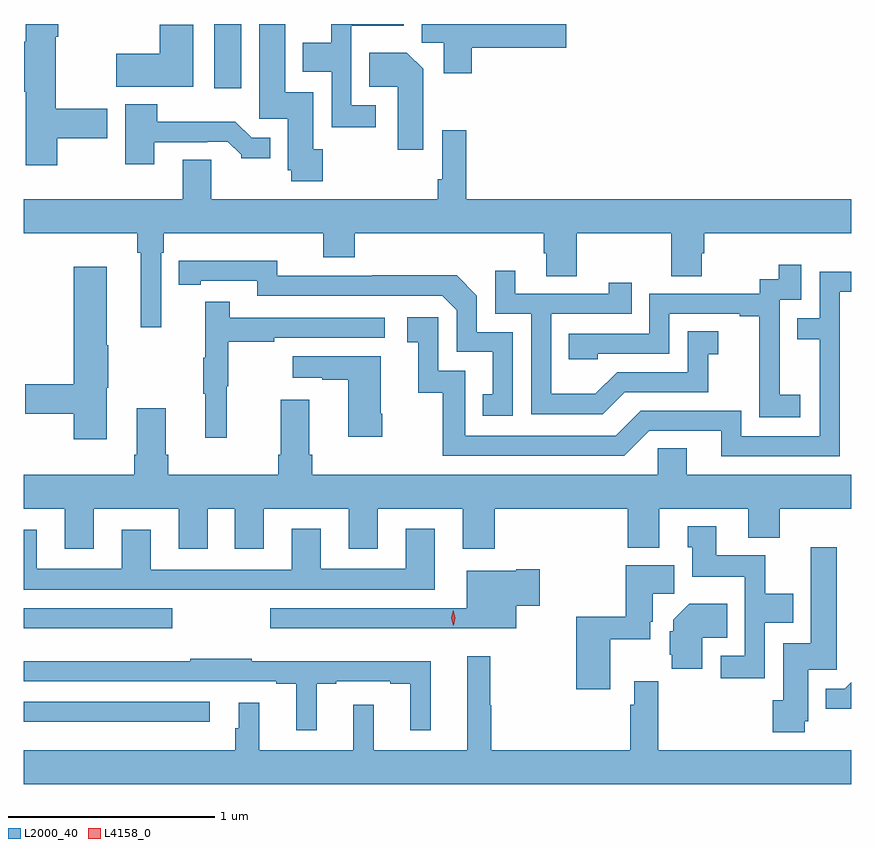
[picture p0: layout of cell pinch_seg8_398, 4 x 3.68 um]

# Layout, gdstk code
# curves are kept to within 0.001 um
import gdstk
lib = gdstk.Library(unit=1e-6, precision=1e-09)
def R(c, l, rs):  # rectangles x0, y0, x1, y1
    for r in rs: c.add(gdstk.rectangle(r[:2], r[2:], *l))
def P(c, l, *ps):  # polygons
    for p in ps: c.add(gdstk.Polygon(p, *l))
L2000_40 = (2000, 40)
L4158_0 = (4158, 0)

pinch_seg8_398 = lib.new_cell('pinch_seg8_398')
R(pinch_seg8_398, L2000_40, [(506.1,1108.808,506.998,1108.905), (506.1,1109.261,506.818,1109.358), (507.02,1111.872,507.151,1112.183)])
P(pinch_seg8_398, L2000_40, [(508.265,1112.069),(508.723,1112.069),(508.723,1112.183),(508.025,1112.183),(508.025,1112.092),(508.13,1112.092),(508.13,1111.944),(508.265,1111.944)],
  [(506.262,1111.63),(506.503,1111.63),(506.503,1111.772),(506.254,1111.772),(506.254,1112.122),(506.267,1112.122),(506.267,1112.183),(506.108,1112.183),(506.108,1112.096),(506.101,1112.096),(506.101,1111.855),(506.108,1111.855),(506.108,1111.5),(506.262,1111.5)],
  [(507.546,1111.578),(507.499,1111.578),(507.499,1111.852),(507.364,1111.852),(507.364,1112.183),(507.239,1112.183),(507.239,1111.725),(507.377,1111.725),(507.377,1111.476),(507.394,1111.476),(507.394,1111.422),(507.546,1111.422)],
  [(507.802,1111.791),(507.684,1111.791),(507.684,1112.174),(507.937,1112.174),(507.937,1112.183),(507.586,1112.183),(507.586,1112.092),(507.449,1112.092),(507.449,1111.952),(507.588,1111.952),(507.588,1111.683),(507.802,1111.683)],
  [(506.92,1112.179),(506.756,1112.179),(506.756,1112.038),(506.547,1112.038),(506.547,1111.88),(506.92,1111.88)],
  [(508.03,1111.966),(507.952,1112.044),(507.769,1112.044),(507.769,1111.88),(507.908,1111.88),(507.908,1111.575),(508.03,1111.575)],
  [(506.731,1111.611),(506.987,1111.611),(506.987,1111.614),(507.086,1111.614),(507.15,1111.55),(507.15,1111.535),(507.292,1111.535),(507.292,1111.632),(507.201,1111.632),(507.123,1111.711),(506.744,1111.711),(506.744,1111.795),(506.591,1111.795),(506.591,1111.506),(506.731,1111.506)],
  [(507.007,1111.526),(506.867,1111.526),(506.867,1111.336),(506.1,1111.336),(506.1,1111.172),(506.647,1111.172),(506.647,1111.076),(506.666,1111.076),(506.666,1110.717),(506.763,1110.717),(506.763,1111.076),(506.777,1111.076),(506.777,1111.172),(507.548,1111.172),(507.548,1111.055),(507.701,1111.055),(507.701,1111.172),(508.613,1111.172),(508.613,1111.074),(508.625,1111.074),(508.625,1110.964),(508.773,1110.964),(508.773,1111.172),(509.23,1111.172),(509.23,1110.964),(509.377,1110.964),(509.377,1111.074),(509.39,1111.074),(509.39,1111.172),(510.1,1111.172),(510.1,1111.336),(508.238,1111.336),(508.238,1111.669),(508.122,1111.669),(508.122,1111.432),(508.102,1111.432),(508.102,1111.336),(507.007,1111.336)],
  [(508.464,1110.693),(508.29,1110.693),(508.29,1110.87),(508.192,1110.968),(507.784,1110.968),(507.784,1110.966),(507.324,1110.966),(507.324,1111.039),(506.848,1111.038),(506.848,1110.922),(506.956,1110.922),(506.956,1110.942),(507.228,1110.942),(507.228,1110.87),(508.122,1110.87),(508.194,1110.798),(508.194,1110.597),(508.367,1110.597),(508.367,1110.393),(508.318,1110.393),(508.318,1110.288),(508.464,1110.288)],
  [(509.854,1110.391),(509.756,1110.391),(509.756,1110.62),(509.754,1110.62),(509.754,1110.849),(509.859,1110.849),(509.859,1111.018),(509.751,1111.018),(509.751,1110.948),(509.658,1110.948),(509.658,1110.879),(509.124,1110.879),(509.124,1110.684),(508.735,1110.684),(508.735,1110.561),(508.875,1110.561),(508.875,1110.588),(509.22,1110.588),(509.22,1110.783),(509.561,1110.783),(509.561,1110.771),(509.657,1110.771),(509.657,1110.487),(509.656,1110.487),(509.656,1110.281),(509.854,1110.281)],
  [(506.5,1110.423),(506.508,1110.423),(506.508,1110.629),(506.5,1110.629),(506.5,1111.009),(506.342,1111.009),(506.342,1110.44),(506.106,1110.44),(506.106,1110.298),(506.342,1110.298),(506.342,1110.174),(506.5,1110.174)],
  [(509.005,1110.402),(509.409,1110.402),(509.409,1110.587),(509.458,1110.587),(509.458,1110.697),(509.31,1110.697),(509.31,1110.498),(508.968,1110.498),(508.864,1110.394),(508.65,1110.394),(508.65,1110.783),(509.039,1110.783),(509.039,1110.931),(508.928,1110.931),(508.928,1110.879),(508.477,1110.879),(508.477,1110.991),(508.38,1110.991),(508.38,1110.783),(508.554,1110.783),(508.554,1110.297),(508.9,1110.297)],
  [(510.045,1110.888),(510.1,1110.888),(510.1,1110.984),(509.949,1110.984),(509.949,1110.759),(509.839,1110.759),(509.839,1110.658),(509.949,1110.658),(509.949,1110.189),(509.568,1110.189),(509.568,1110.312),(509.082,1110.312),(508.962,1110.192),(508.233,1110.192),(508.233,1110.507),(508.104,1110.507),(508.104,1110.766),(507.954,1110.766),(507.954,1110.645),(508.007,1110.645),(508.007,1110.399),(508.125,1110.399),(508.125,1110.096),(509.004,1110.096),(509.124,1110.216),(509.471,1110.216),(509.471,1110.093),(510.045,1110.093)],
  [(507.08,1110.432),(507.088,1110.432),(507.088,1110.646),(507.311,1110.646),(507.311,1110.666),(507.844,1110.666),(507.844,1110.762),(507.095,1110.762),(507.095,1110.841),(506.978,1110.841),(506.978,1110.569),(506.967,1110.569),(506.967,1110.395),(506.978,1110.395),(506.978,1110.183),(507.08,1110.183)],
  [(507.834,1110.298),(507.826,1110.298),(507.826,1110.577),(507.399,1110.577),(507.399,1110.473),(507.542,1110.473),(507.542,1110.463),(507.668,1110.463),(507.668,1110.186),(507.834,1110.186)],
  [(506.849,1109.646),(506.989,1109.646),(506.989,1109.84),(507.119,1109.84),(507.119,1109.646),(507.259,1109.646),(507.259,1109.84),(507.671,1109.84),(507.671,1109.646),(507.811,1109.646),(507.811,1109.84),(508.223,1109.84),(508.223,1109.646),(508.376,1109.646),(508.376,1109.84),(509.021,1109.84),(509.021,1109.651),(509.173,1109.651),(509.173,1109.84),(509.603,1109.84),(509.603,1109.699),(509.756,1109.699),(509.756,1109.84),(510.1,1109.84),(510.1,1110.004),(509.305,1110.004),(509.305,1110.131),(509.166,1110.131),(509.166,1110.004),(507.494,1110.004),(507.494,1110.1),(507.481,1110.1),(507.481,1110.367),(507.341,1110.367),(507.341,1110.1),(507.329,1110.1),(507.329,1110.004),(506.798,1110.004),(506.798,1110.1),(506.785,1110.1),(506.785,1110.325),(506.645,1110.325),(506.645,1110.1),(506.633,1110.1),(506.633,1110.004),(506.1,1110.004),(506.1,1109.84),(506.297,1109.84),(506.297,1109.646),(506.437,1109.646),(506.437,1109.84),(506.849,1109.84)],
  [(509.682,1109.288),(509.821,1109.288),(509.821,1109.428),(509.685,1109.428),(509.685,1109.614),(509.449,1109.614),(509.449,1109.755),(509.309,1109.755),(509.309,1109.652),(509.333,1109.652),(509.333,1109.51),(509.586,1109.51),(509.586,1109.127),(509.469,1109.127),(509.469,1109.019),(509.682,1109.019)],
  [(508.087,1109.743),(507.947,1109.743),(507.947,1109.549),(507.535,1109.549),(507.535,1109.743),(507.395,1109.743),(507.395,1109.544),(506.713,1109.544),(506.713,1109.737),(506.573,1109.737),(506.573,1109.549),(506.161,1109.549),(506.161,1109.737),(506.1,1109.737),(506.1,1109.448),(508.087,1109.448)],
  [(509.877,1108.812),(509.893,1108.812),(509.893,1109.061),(510.031,1109.061),(510.031,1109.653),(509.906,1109.653),(509.906,1109.188),(509.771,1109.188),(509.771,1108.914),(509.72,1108.914),(509.72,1108.758),(509.877,1108.758)],
  [(508.936,1109.207),(509.128,1109.207),(509.128,1109.292),(509.14,1109.292),(509.14,1109.428),(509.245,1109.428),(509.245,1109.566),(509.011,1109.566),(509.011,1109.317),(508.771,1109.317),(508.771,1108.965),(508.936,1108.965)],
  [(508.48,1109.369),(508.594,1109.369),(508.594,1109.547),(508.481,1109.547),(508.481,1109.539),(508.241,1109.539),(508.241,1109.358),(507.291,1109.358),(507.291,1109.261),(508.48,1109.261)],
  [(509.38,1109.216),(509.501,1109.216),(509.501,1109.38),(509.318,1109.38),(509.24,1109.302),(509.24,1109.247),(509.222,1109.247),(509.222,1109.133),(509.233,1109.133),(509.233,1109.066),(509.38,1109.066)],
  [(507.515,1108.992),(507.61,1108.992),(507.61,1109.004),(507.872,1109.004),(507.872,1108.992),(507.968,1108.992),(507.968,1108.767),(508.067,1108.767),(508.067,1109.101),(507.203,1109.101),(507.203,1109.113),(506.905,1109.113),(506.905,1109.101),(506.1,1109.101),(506.1,1109.004),(507.32,1109.004),(507.32,1108.992),(507.416,1108.992),(507.416,1108.767),(507.515,1108.767)],
  [(508.244,1109.125),(508.244,1108.672),(507.791,1108.672),(507.791,1108.891),(507.692,1108.891),(507.692,1108.672),(507.239,1108.672),(507.239,1108.9),(507.14,1108.9),(507.14,1108.778),(507.121,1108.778),(507.121,1108.672),(506.1,1108.672),(506.1,1108.508),(510.1,1108.508),(510.1,1108.672),(509.168,1108.672),(509.168,1109.005),(509.052,1109.005),(509.052,1108.892),(509.032,1108.892),(509.032,1108.672),(508.361,1108.672),(508.361,1108.89),(508.354,1108.89),(508.354,1109.125)],
  [(510.1,1108.999),(510.069,1108.968),(509.978,1108.968),(509.978,1108.871),(510.1,1108.871)])
P(pinch_seg8_398, L4158_0, [(508.177,1109.275),(508.166,1109.311),(508.175,1109.347),(508.175,1109.347),(508.175,1109.347),(508.186,1109.312),(508.178,1109.275),(508.178,1109.275)])

lib.write_gds('pinch_seg8_398.gds')
